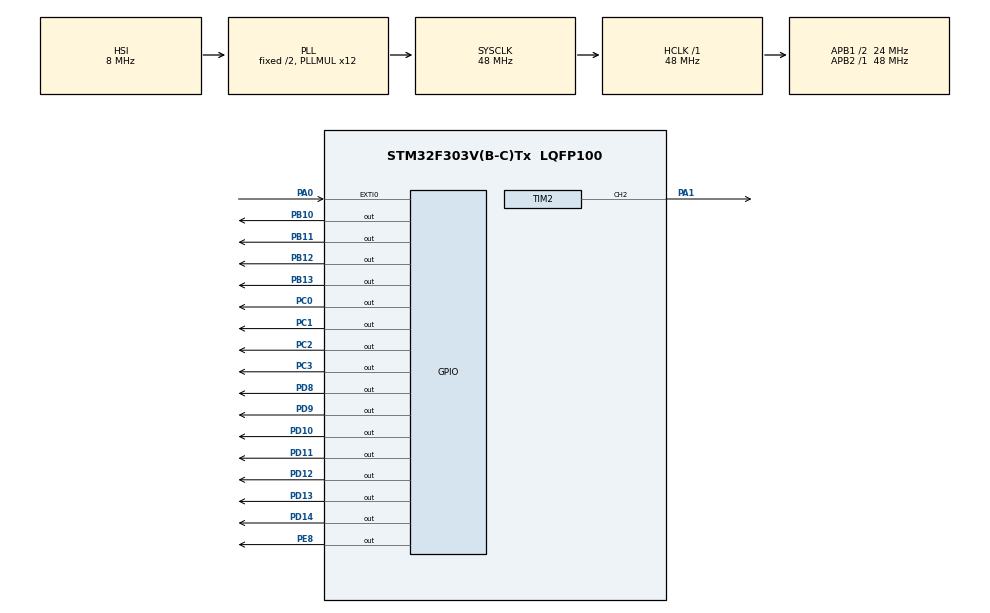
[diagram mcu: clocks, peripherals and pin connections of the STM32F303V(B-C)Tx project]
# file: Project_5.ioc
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Mcu.Family=STM32F3
Mcu.Name=STM32F303V(B-C)Tx
Mcu.Package=LQFP100
NVIC.EXTI0_IRQn=true\:2\:0\:true\:false\:true\:true\:true
NVIC.PriorityGroup=NVIC_PRIORITYGROUP_4
NVIC.TIM3_IRQn=true\:3\:0\:true\:false\:true\:true\:true
NVIC.TIM4_IRQn=true\:1\:0\:true\:false\:true\:true\:true
PA0.GPIO_PuPd=GPIO_PULLDOWN
PA0.Signal=GPXTI0
PA1.Signal=S_TIM2_CH2
PB10.Signal=GPIO_Output
PB11.Signal=GPIO_Output
PB12.Signal=GPIO_Output
PB13.Signal=GPIO_Output
PC0.Signal=GPIO_Output
PC1.Signal=GPIO_Output
PC2.Signal=GPIO_Output
PC3.Signal=GPIO_Output
PD10.GPIO_PuPd=GPIO_PULLDOWN
PD10.Signal=GPIO_Output
PD11.GPIO_PuPd=GPIO_PULLDOWN
PD11.Signal=GPIO_Output
PD12.GPIO_PuPd=GPIO_PULLDOWN
PD12.Signal=GPIO_Output
PD13.GPIO_PuPd=GPIO_PULLDOWN
PD13.Signal=GPIO_Output
PD14.GPIO_PuPd=GPIO_PULLDOWN
PD14.Signal=GPIO_Output
PD8.GPIO_PuPd=GPIO_PULLDOWN
PD8.Signal=GPIO_Output
PD9.GPIO_PuPd=GPIO_PULLDOWN
PD9.Signal=GPIO_Output
PE8.Signal=GPIO_Output
ProjectManager.HeapSize=0x200
ProjectManager.StackSize=0x400
ProjectManager.TargetToolchain=STM32CubeIDE
RCC.AHBFreq_Value=48000000
RCC.APB1CLKDivider=RCC_HCLK_DIV2
RCC.APB1Freq_Value=24000000
RCC.APB1TimFreq_Value=48000000
RCC.APB2Freq_Value=48000000
RCC.APB2TimFreq_Value=48000000
RCC.CortexFreq_Value=48000000
RCC.HCLKFreq_Value=48000000
RCC.HSE_VALUE=8000000
RCC.HSI_VALUE=8000000
RCC.LSE_VALUE=32768
RCC.PLLMUL=RCC_PLL_MUL12
RCC.SYSCLKFreq_VALUE=48000000
RCC.SYSCLKSourceVirtual=RCC_SYSCLKSOURCE_PLLCLK
RCC.USBFreq_Value=48000000
SH.S_TIM2_CH2.0=TIM2_CH2,PWM Generation2 CH2
TIM2.Channel-PWM\ Generation2\ CH2=TIM_CHANNEL_2
TIM3.Period=9999
TIM3.Prescaler=4799
TIM4.Period=999
TIM4.Prescaler=191
VP_TIM2_VS_ClockSourceINT.Mode=Internal
VP_TIM3_VS_ClockSourceINT.Mode=Internal
VP_TIM4_VS_ClockSourceINT.Mode=Internal
board=custom

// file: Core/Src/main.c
/* USER CODE BEGIN Header */
///**
//  ******************************************************************************
//  * @file           : main.c
//  * @brief          : Main program body
//  ******************************************************************************
//  * @attention
//  *
//  * <h2><center>&copy; Copyright (c) 2022 STMicroelectronics.
//  * All rights reserved.</center></h2>
//  *
//  * This software component is licensed by ST under BSD 3-Clause license,
//  * the "License"; You may not use this file except in compliance with the
//  * License. You may obtain a copy of the License at:
//  *                        opensource.org/licenses/BSD-3-Clause
//  *
//  ******************************************************************************
//  */
/* USER CODE END Header */
#include "main.h"

/* USER CODE BEGIN Includes */
#include "LiquidCrystal.h"
/* USER CODE END Includes */

/* USER CODE BEGIN PTD */
typedef unsigned char byte;
/* USER CODE END PTD */

TIM_HandleTypeDef htim2;
TIM_HandleTypeDef htim3;
TIM_HandleTypeDef htim4;

/* USER CODE BEGIN PV */
byte player[] = {
        0x00,
        0x04,
        0x0E,
        0x15,
        0x1F,
        0x0E,
        0x1B,
        0x00
};

byte enemy_up[] = {
        0x01,
        0x02,
        0x04,
        0x02,
        0x04,
        0x08,
        0x00,
        0x00
};

byte enemy_down[] = {
        0x00,
        0x04,
        0x0E,
        0x0E,
        0x1F,
        0x0E,
        0x04,
        0x04
};

byte ground[] = {
        0x1F,
        0x1F,
        0x1F,
        0x1F,
        0x1F,
        0x1F,
        0x1F,
        0x1F
};
byte blank[] = {
        0x00,
        0x00,
        0x00,
        0x00,
        0x00,
        0x00,
        0x00,
        0x00
};

byte letter_1_message_1[] = {
        0x00,
        0x00,
        0x19,
        0x09,
        0x1A,
        0x00,
        0x00,
        0x00
};

byte letter_2_message_1[] = {
        0x01,
        0x02,
        0x04,
        0x04,
        0x1C,
        0x00,
        0x00,
        0x00
};

byte letter_4_message_1[] = {
        0x00,
        0x00,
        0x04,
        0x11,
        0x11,
        0x0E,
        0x00,
        0x00
};

byte letter_5_message_1[] = {
        0x08,
        0x08,
        0x08,
        0x0B,
        0x0F,
        0x00,
        0x00,
        0x00
};

byte letter_6_message_1[] = {
        0x00,
        0x02,
        0x01,
        0x0D,
        0x0F,
        0x10,
        0x10,
        0x0C
};

byte letter_1_message_2[] = {
        0x00,
        0x04,
        0x0E,
        0x00,
        0x15,
        0x1F,
        0x00,
        0x00
};

byte letter_2_message_2[] = {
        0x00,
        0x00,
        0x00,
        0x00,
        0x0C,
        0x0D,
        0x05,
        0x0A
};

byte letter_3_message_2[] = {
        0x00,
        0x00,
        0x03,
        0x04,
        0x03,
        0x04,
        0x08,
        0x07
};

byte letter_2_message_3[] = {
        0x00,
        0x08,
        0x08,
        0x08,
        0x0B,
        0x0F,
        0x00,
        0x00
};

byte letter_3_message_3[] = {
        0x00,
        0x08,
        0x08,
        0x08,
        0x0A,
        0x0E,
        0x00,
        0x04
};

byte letter_4_message_3[] = {
        0x00,
        0x02,
        0x00,
        0x06,
        0x01,
        0x1F,
        0x00,
        0x00
};

byte letter_5_message_3[] = {
        0x00,
        0x00,
        0x06,
        0x00,
        0x09,
        0x1F,
        0x00,
        0x10
};

byte letter_6_message_3[] = {
        0x00,
        0x00,
        0x00,
        0x0C,
        0x04,
        0x0F,
        0x00,
        0x01
};

byte letter_1_message_4[] = {
        0x00,
        0x01,
        0x01,
        0x01,
        0x0D,
        0x1D,
        0x00,
        0x00
};

byte letter_2_message_4[] = {
        0x00,
        0x00,
        0x06,
        0x00,
        0x09,
        0x1F,
        0x00,
        0x10
};

byte letter_3_message_4[] = {
        0x00,
        0x02,
        0x0A,
        0x02,
        0x0A,
        0x0B,
        0x10,
        0x01
};
/* USER CODE END PV */

void SystemClock_Config(void);

static void MX_GPIO_Init(void);

static void MX_TIM3_Init(void);

static void MX_TIM4_Init(void);

static void MX_TIM2_Init(void);

/* USER CODE BEGIN 0 */
TIM_HandleTypeDef *pwm_timer = &htim2;
uint32_t pwm_channel = TIM_CHANNEL_2;

void PWM_Start() {
    HAL_TIM_PWM_Start(pwm_timer, pwm_channel);
}
/* USER CODE END 0 */

int main(void) {

    /* MCU Configuration--------------------------------------------------------*/

    /* Reset of all peripherals, Initializes the Flash interface and the Systick. */
    HAL_Init();

    /* USER CODE BEGIN Init */
    LiquidCrystal(GPIOD, GPIO_PIN_8, GPIO_PIN_9, GPIO_PIN_10, GPIO_PIN_11, GPIO_PIN_12, GPIO_PIN_13, GPIO_PIN_14);
    begin(20, 4);
    /* USER CODE END Init */

    /* Configure the system clock */
    SystemClock_Config();

    /* Initialize all configured peripherals */
    MX_GPIO_Init();
    MX_TIM3_Init();
    MX_TIM4_Init();
    MX_TIM2_Init();
    /* USER CODE BEGIN 2 */
    HAL_TIM_Base_Start_IT(&htim3);
    HAL_TIM_Base_Start_IT(&htim4);

    HAL_TIM_PWM_Start(&htim2, TIM_CHANNEL_3);
    PWM_Start();

    /* USER CODE END 2 */

    /* Infinite loop */
    while (1) {

    }
}

void SystemClock_Config(void) {
    RCC_OscInitTypeDef RCC_OscInitStruct = {0};
    RCC_ClkInitTypeDef RCC_ClkInitStruct = {0};

    /** Initializes the RCC Oscillators according to the specified parameters
    * in the RCC_OscInitTypeDef structure.
    */
    RCC_OscInitStruct.OscillatorType = RCC_OSCILLATORTYPE_HSI;
    RCC_OscInitStruct.HSIState = RCC_HSI_ON;
    RCC_OscInitStruct.HSICalibrationValue = RCC_HSICALIBRATION_DEFAULT;
    RCC_OscInitStruct.PLL.PLLState = RCC_PLL_ON;
    RCC_OscInitStruct.PLL.PLLSource = RCC_PLLSOURCE_HSI;
    RCC_OscInitStruct.PLL.PLLMUL = RCC_PLL_MUL12;
    if (HAL_RCC_OscConfig(&RCC_OscInitStruct) != HAL_OK) {
        Error_Handler();
    }
    /** Initializes the CPU, AHB and APB buses clocks
    */
    RCC_ClkInitStruct.ClockType = RCC_CLOCKTYPE_HCLK | RCC_CLOCKTYPE_SYSCLK
                                  | RCC_CLOCKTYPE_PCLK1 | RCC_CLOCKTYPE_PCLK2;
    RCC_ClkInitStruct.SYSCLKSource = RCC_SYSCLKSOURCE_PLLCLK;
    RCC_ClkInitStruct.AHBCLKDivider = RCC_SYSCLK_DIV1;
    RCC_ClkInitStruct.APB1CLKDivider = RCC_HCLK_DIV2;
    RCC_ClkInitStruct.APB2CLKDivider = RCC_HCLK_DIV1;

    if (HAL_RCC_ClockConfig(&RCC_ClkInitStruct, FLASH_LATENCY_1) != HAL_OK) {
        Error_Handler();
    }
}

static void MX_TIM2_Init(void) {

    TIM_ClockConfigTypeDef sClockSourceConfig = {0};
    TIM_MasterConfigTypeDef sMasterConfig = {0};
    TIM_OC_InitTypeDef sConfigOC = {0};

    htim2.Instance = TIM2;
    htim2.Init.Prescaler = 0;
    htim2.Init.CounterMode = TIM_COUNTERMODE_UP;
    htim2.Init.Period = 4294967295;
    htim2.Init.ClockDivision = TIM_CLOCKDIVISION_DIV1;
    htim2.Init.AutoReloadPreload = TIM_AUTORELOAD_PRELOAD_DISABLE;
    if (HAL_TIM_Base_Init(&htim2) != HAL_OK) {
        Error_Handler();
    }
    sClockSourceConfig.ClockSource = TIM_CLOCKSOURCE_INTERNAL;
    if (HAL_TIM_ConfigClockSource(&htim2, &sClockSourceConfig) != HAL_OK) {
        Error_Handler();
    }
    if (HAL_TIM_PWM_Init(&htim2) != HAL_OK) {
        Error_Handler();
    }
    sMasterConfig.MasterOutputTrigger = TIM_TRGO_RESET;
    sMasterConfig.MasterSlaveMode = TIM_MASTERSLAVEMODE_DISABLE;
    if (HAL_TIMEx_MasterConfigSynchronization(&htim2, &sMasterConfig) != HAL_OK) {
        Error_Handler();
    }
    sConfigOC.OCMode = TIM_OCMODE_PWM1;
    sConfigOC.Pulse = 0;
    sConfigOC.OCPolarity = TIM_OCPOLARITY_HIGH;
    sConfigOC.OCFastMode = TIM_OCFAST_DISABLE;
    if (HAL_TIM_PWM_ConfigChannel(&htim2, &sConfigOC, TIM_CHANNEL_2) != HAL_OK) {
        Error_Handler();
    }
    HAL_TIM_MspPostInit(&htim2);

}

static void MX_TIM3_Init(void) {

    TIM_ClockConfigTypeDef sClockSourceConfig = {0};
    TIM_MasterConfigTypeDef sMasterConfig = {0};

    htim3.Instance = TIM3;
    htim3.Init.Prescaler = 4799;
    htim3.Init.CounterMode = TIM_COUNTERMODE_UP;
    htim3.Init.Period = 9999;
    htim3.Init.ClockDivision = TIM_CLOCKDIVISION_DIV1;
    htim3.Init.AutoReloadPreload = TIM_AUTORELOAD_PRELOAD_DISABLE;
    if (HAL_TIM_Base_Init(&htim3) != HAL_OK) {
        Error_Handler();
    }
    sClockSourceConfig.ClockSource = TIM_CLOCKSOURCE_INTERNAL;
    if (HAL_TIM_ConfigClockSource(&htim3, &sClockSourceConfig) != HAL_OK) {
        Error_Handler();
    }
    sMasterConfig.MasterOutputTrigger = TIM_TRGO_RESET;
    sMasterConfig.MasterSlaveMode = TIM_MASTERSLAVEMODE_DISABLE;
    if (HAL_TIMEx_MasterConfigSynchronization(&htim3, &sMasterConfig) != HAL_OK) {
        Error_Handler();
    }

}

static void MX_TIM4_Init(void) {

    TIM_ClockConfigTypeDef sClockSourceConfig = {0};
    TIM_MasterConfigTypeDef sMasterConfig = {0};

    htim4.Instance = TIM4;
    htim4.Init.Prescaler = 191;
    htim4.Init.CounterMode = TIM_COUNTERMODE_UP;
    htim4.Init.Period = 999;
    htim4.Init.ClockDivision = TIM_CLOCKDIVISION_DIV1;
    htim4.Init.AutoReloadPreload = TIM_AUTORELOAD_PRELOAD_DISABLE;
    if (HAL_TIM_Base_Init(&htim4) != HAL_OK) {
        Error_Handler();
    }
    sClockSourceConfig.ClockSource = TIM_CLOCKSOURCE_INTERNAL;
    if (HAL_TIM_ConfigClockSource(&htim4, &sClockSourceConfig) != HAL_OK) {
        Error_Handler();
    }
    sMasterConfig.MasterOutputTrigger = TIM_TRGO_RESET;
    sMasterConfig.MasterSlaveMode = TIM_MASTERSLAVEMODE_DISABLE;
    if (HAL_TIMEx_MasterConfigSynchronization(&htim4, &sMasterConfig) != HAL_OK) {
        Error_Handler();
    }

}

static void MX_GPIO_Init(void) {
    GPIO_InitTypeDef GPIO_InitStruct = {0};

    /* GPIO Ports Clock Enable */
    __HAL_RCC_GPIOC_CLK_ENABLE();
    __HAL_RCC_GPIOA_CLK_ENABLE();
    __HAL_RCC_GPIOE_CLK_ENABLE();
    __HAL_RCC_GPIOB_CLK_ENABLE();
    __HAL_RCC_GPIOD_CLK_ENABLE();

    /*Configure GPIO pin Output Level */
    HAL_GPIO_WritePin(GPIOC, GPIO_PIN_0 | GPIO_PIN_1 | GPIO_PIN_2 | GPIO_PIN_3, GPIO_PIN_RESET);

    /*Configure GPIO pin Output Level */
    HAL_GPIO_WritePin(GPIOE, GPIO_PIN_8, GPIO_PIN_RESET);

    /*Configure GPIO pin Output Level */
    HAL_GPIO_WritePin(GPIOB, GPIO_PIN_10 | GPIO_PIN_11 | GPIO_PIN_12 | GPIO_PIN_13, GPIO_PIN_RESET);

    /*Configure GPIO pin Output Level */
    HAL_GPIO_WritePin(GPIOD, GPIO_PIN_8 | GPIO_PIN_9 | GPIO_PIN_10 | GPIO_PIN_11
                             | GPIO_PIN_12 | GPIO_PIN_13 | GPIO_PIN_14, GPIO_PIN_RESET);

    /*Configure GPIO pins : PC0 PC1 PC2 PC3 */
    GPIO_InitStruct.Pin = GPIO_PIN_0 | GPIO_PIN_1 | GPIO_PIN_2 | GPIO_PIN_3;
    GPIO_InitStruct.Mode = GPIO_MODE_OUTPUT_PP;
    GPIO_InitStruct.Pull = GPIO_NOPULL;
    GPIO_InitStruct.Speed = GPIO_SPEED_FREQ_LOW;
    HAL_GPIO_Init(GPIOC, &GPIO_InitStruct);

    /*Configure GPIO pin : PA0 */
    GPIO_InitStruct.Pin = GPIO_PIN_0;
    GPIO_InitStruct.Mode = GPIO_MODE_IT_RISING;
    GPIO_InitStruct.Pull = GPIO_PULLDOWN;
    HAL_GPIO_Init(GPIOA, &GPIO_InitStruct);

    /*Configure GPIO pin : PE8 */
    GPIO_InitStruct.Pin = GPIO_PIN_8;
    GPIO_InitStruct.Mode = GPIO_MODE_OUTPUT_PP;
    GPIO_InitStruct.Pull = GPIO_NOPULL;
    GPIO_InitStruct.Speed = GPIO_SPEED_FREQ_LOW;
    HAL_GPIO_Init(GPIOE, &GPIO_InitStruct);

    /*Configure GPIO pins : PB10 PB11 PB12 PB13 */
    GPIO_InitStruct.Pin = GPIO_PIN_10 | GPIO_PIN_11 | GPIO_PIN_12 | GPIO_PIN_13;
    GPIO_InitStruct.Mode = GPIO_MODE_OUTPUT_PP;
    GPIO_InitStruct.Pull = GPIO_NOPULL;
    GPIO_InitStruct.Speed = GPIO_SPEED_FREQ_LOW;
    HAL_GPIO_Init(GPIOB, &GPIO_InitStruct);

    /*Configure GPIO pins : PD8 PD9 PD10 PD11
                             PD12 PD13 PD14 */
    GPIO_InitStruct.Pin = GPIO_PIN_8 | GPIO_PIN_9 | GPIO_PIN_10 | GPIO_PIN_11
                          | GPIO_PIN_12 | GPIO_PIN_13 | GPIO_PIN_14;
    GPIO_InitStruct.Mode = GPIO_MODE_OUTPUT_PP;
    GPIO_InitStruct.Pull = GPIO_PULLDOWN;
    GPIO_InitStruct.Speed = GPIO_SPEED_FREQ_LOW;
    HAL_GPIO_Init(GPIOD, &GPIO_InitStruct);

    /* EXTI interrupt init*/
    HAL_NVIC_SetPriority(EXTI0_IRQn, 2, 0);
    HAL_NVIC_EnableIRQ(EXTI0_IRQn);

}

/* USER CODE BEGIN 4 */
//////
/* USER CODE END 4 */

void Error_Handler(void) {
    /* USER CODE BEGIN Error_Handler_Debug */
//////    /* User can add his own implementation to report the HAL error return state */
//////    __disable_irq();
//////    while (1) {
//////    }
    /* USER CODE END Error_Handler_Debug */
}

#ifdef  USE_FULL_ASSERT
/**
  * @brief  Reports the name of the source file and the source line number
  *         where the assert_param error has occurred.
  * @param  file: pointer to the source file name
  * @param  line: assert_param error line source number
  * @retval None
  */
void assert_failed(uint8_t *file, uint32_t line)
{
  /* USER CODE BEGIN 6 */
//////  /* User can add his own implementation to report the file name and line number,
//////     ex: printf("Wrong parameters value: file %s on line %d\r\n", file, line) */
  /* USER CODE END 6 */
}
#endif /* USE_FULL_ASSERT */

/************************ (C) COPYRIGHT STMicroelectronics *****END OF FILE****/
